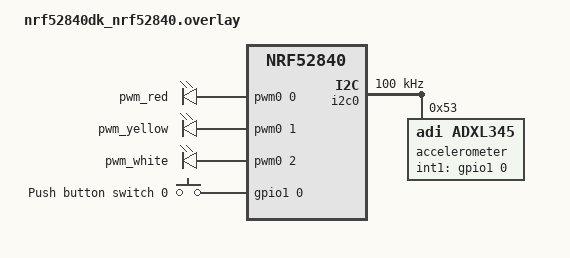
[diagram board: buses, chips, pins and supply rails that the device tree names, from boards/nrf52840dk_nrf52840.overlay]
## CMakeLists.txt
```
# SPDX-License-Identifier: Apache-2.0

cmake_minimum_required(VERSION 3.20.0)
find_package(Zephyr REQUIRED HINTS $ENV{ZEPHYR_BASE})
project(iso_receive)

target_sources(app PRIVATE
    src/main.c
    src/ble.c
    src/led.c
)
```

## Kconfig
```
# Copyright (c) 2023 Nordic Semiconductor ASA
# SPDX-License-Identifier: Apache-2.0

source "Kconfig.zephyr"

mainmenu "Bluetooth: ISO Receive"

config ISO_PRINT_INTERVAL
	int "Interval between each packet report"
	range 1 360000
	default 1
	help
	  Only print the packet report once in a given interval of ISO packets.

config ISO_ALIGN_PRINT_INTERVALS
	bool "Align report interval with incoming packets"
	help
	  Align interval-counter with packet number from incoming ISO packets.
	  This may be needed if report printouts are to be synchronized between
	  the iso_broadcast sample and the iso_receive sample.

config TTL_SHUTDOWN_TIMEOUT
	int "Shutdown timeout in seconds"
	default 600
	help
	  Define the shutdown timeout interval in seconds
```

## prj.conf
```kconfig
CONFIG_LOG=y
# CONFIG_LOG_MODE_IMMEDIATE=y

CONFIG_BT=y
CONFIG_BT_ISO_SYNC_RECEIVER=y
CONFIG_BT_DEVICE_NAME="Test ISO Receive"
CONFIG_BT_ISO_MAX_CHAN=2

# Configuration for LED PWM solution
CONFIG_GPIO=y
CONFIG_PWM=y
CONFIG_PWM_LOG_LEVEL_DBG=y

# Enable adxl345 sensor via I2C
CONFIG_I2C=y
CONFIG_SENSOR=y
CONFIG_ADXL345=y

# Configure the adxl345 sensor
CONFIG_ADXL345_TRIGGER_GLOBAL_THREAD=y

CONFIG_SENSOR_LOG_LEVEL_DBG=y
# CONFIG_I2C_LOG_LEVEL_DBG=y
# CONFIG_I2C_DUMP_MESSAGES=y
# Configuration for LED Strips solution
# CONFIG_LED_STRIP=y
# CONFIG_LED_STRIP_LOG_LEVEL_DBG=y
# CONFIG_WS2812_STRIP=y
# CONFIG_LED_STRIP_WHITE_CHANNEL=y

CONFIG_PM_DEVICE=y
CONFIG_POWEROFF=y
CONFIG_REBOOT=y

CONFIG_TTL_SHUTDOWN_TIMEOUT=30
```

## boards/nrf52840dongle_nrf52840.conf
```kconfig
# # enable logging via USB ACM
# CONFIG_USB_DEVICE_STACK=y
# CONFIG_USB_DEVICE_PRODUCT="Zephyr USB console sample"
# CONFIG_USB_DEVICE_PID=0x0004
# CONFIG_USB_DEVICE_INITIALIZE_AT_BOOT=n

# CONFIG_SERIAL=y
# CONFIG_CONSOLE=y
# CONFIG_UART_CONSOLE=y
# CONFIG_UART_LINE_CTRL=y
```

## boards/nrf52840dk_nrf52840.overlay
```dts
/*
 * Copyright (c) 2019, Nordic Semiconductor ASA
 *
 * SPDX-License-Identifier: Apache-2.0
 */

// remove existing pwm LEDs dt configuration
// remove buttons to avoid interference 
/ {
	aliases {
		/delete-property/ pwm-led0;		
		/delete-property/ sw0;
		/delete-property/ sw1;
		/delete-property/ sw2;
		/delete-property/ sw3;
		/delete-property/ mcuboot-button0;
	};
	/delete-node/ pwmleds;
	/delete-node/ buttons;
};

// create new configuration
/ {
	pwmleds {
		compatible = "pwm-leds";
		pwm_red: pwm_led0 {
			pwms = <&pwm0 0 PWM_SEC(1) PWM_POLARITY_NORMAL>;
		};
		pwm_yellow: pwm_led1 {
			pwms = <&pwm0 1 PWM_SEC(1) PWM_POLARITY_NORMAL>;
		};
		pwm_white: pwm_led2 {
			pwms = <&pwm0 2 PWM_SEC(1) PWM_POLARITY_NORMAL>;
		};
	};
};

&pwm0_default {
	// use GPIO pins which are also available on the DONGLE
	group1 {
		psels = 
			<NRF_PSEL(PWM_OUT0, 1, 10)>, 
			<NRF_PSEL(PWM_OUT1, 1, 13)>,
			<NRF_PSEL(PWM_OUT2, 1, 15)>;
		
		// remove nordic,invert property,
		// otherwise the GPIO will be high if the PWM is disconnected
		/delete-property/ nordic,invert;
	};
};

/* 
 * ADXL345 on I2C
 * We use the alternative 7-bit I2C address: 0x53
 * Furthermore, we use the following pins for I2C
 *   - SCL: P0.22
 *   - SDA: P0.25 -> we can not use P0.24 because this pin is fixed wired to the QSPI flash
*/
&i2c0 {
	status = "okay";
	clock-frequency = <I2C_BITRATE_STANDARD>;
	accelerometer: adxl345@53 {
		compatible="adi,adxl345";
		reg=<0x53>;
		odr=<6>;
		range=<16>;
		fifo=<0>;
		int1-gpios=<&gpio1 0 GPIO_ACTIVE_HIGH>;
	};
};

&i2c0_default {
	group1 {
		psels = <NRF_PSEL(TWIM_SCL, 0, 25)>,
				<NRF_PSEL(TWIM_SDA, 0, 24)>;
	};
};

/ {
		buttons {
		compatible = "gpio-keys";
		reboot_pin: reboot_pin {
			gpios = < &gpio1 0 (GPIO_PULL_DOWN | GPIO_ACTIVE_HIGH)>;
			label = "Push button switch 0";
		};
	};
};
```

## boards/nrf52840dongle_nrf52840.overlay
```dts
/*
 * Copyright (c) 2019, Nordic Semiconductor ASA
 *
 * SPDX-License-Identifier: Apache-2.0
 */

// remove existing pwm LEDs dt configuration
/ {
	aliases {
		/delete-property/ pwm-led0;
		/delete-property/ pwm-led1;
		/delete-property/ pwm-led2;
		/delete-property/ red-pwm-led;
		/delete-property/ green-pwm-led;
		/delete-property/ blue-pwm-led;
		/delete-property/ green_pwm_led;
		
		/delete-property/ sw0;
		/delete-property/ sw1;
		/delete-property/ sw2;
		/delete-property/ sw3;
		/delete-property/ mcuboot-button0;
	};
	/delete-node/ pwmleds;
	/delete-node/ buttons;
};

// create new configuration
/ {
	pwmleds {
		compatible = "pwm-leds";
		pwm_red: pwm_led0 {
			pwms = <&pwm0 0 PWM_SEC(1) PWM_POLARITY_NORMAL>;
		};
		pwm_yellow: pwm_led1 {
			pwms = <&pwm0 1 PWM_SEC(1) PWM_POLARITY_NORMAL>;
		};
		pwm_white: pwm_led2 {
			pwms = <&pwm0 2 PWM_SEC(1) PWM_POLARITY_NORMAL>;
		};
	};
};	

&pwm0_default {
	// use GPIO pins which are also available on the DONGLE
	group1 {
		psels = 
			<NRF_PSEL(PWM_OUT0, 1, 10)>, 
			<NRF_PSEL(PWM_OUT1, 1, 13)>,
			<NRF_PSEL(PWM_OUT2, 1, 15)>;
		
		// remove nordic,invert property,
		// otherwise the GPIO will be high if the PWM is disconnected
		/delete-property/ nordic,invert;
	};
};


/* 
 * ADXL345 on I2C
 * We use the alternative 7-bit I2C address: 0x53
 * Furthermore, we use the following pins for I2C
 *   - SCL: P0.22
 *   - SDA: P0.24
*/
&i2c0 {
	status = "okay";
	clock-frequency = <I2C_BITRATE_STANDARD>;
	accelerometer: adxl345@53 {
		compatible="adi,adxl345";
		reg=<0x53>;
		odr=<6>;
		range=<16>;
		fifo=<0>;
		int1-gpios=<&gpio0 13 GPIO_ACTIVE_HIGH>;
	};
};

&i2c0_default {
	group1 {
		psels = <NRF_PSEL(TWIM_SCL, 0, 22)>,
				<NRF_PSEL(TWIM_SDA, 0, 24)>;
	};
};

/ {
		buttons {
		compatible = "gpio-keys";
		reboot_pin: reboot_pin {
			gpios = < &gpio0 13 (GPIO_PULL_DOWN | GPIO_ACTIVE_HIGH)>;
			label = "Push button switch 0";
		};
	};
};
```

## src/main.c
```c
#include <zephyr/drivers/gpio.h>
#include <zephyr/drivers/sensor.h>
#include <zephyr/kernel.h>
#include <zephyr/logging/log.h>
#include <zephyr/sys/poweroff.h>
#include <zephyr/sys/reboot.h>

#include "accel.h"
#include "ble.h"
#include "led.h"
#include "ttl.h"

LOG_MODULE_REGISTER(ttl_main, LOG_LEVEL_INF);

/**
 * @brief Reset pin, used by the accelerometer to wakeup the boot
 */
static const struct gpio_dt_spec reboot_pin =
    GPIO_DT_SPEC_GET(DT_NODELABEL(reboot_pin), gpios);

/**
 * @brief Overwrite ASSERT handler
 * @param reason - The reason for the fatal error
 * @param esf    - Exception context, with details and partial or full register
 *                 state when the error occurred. May in some cases be NULL.
 */
void k_sys_fatal_error_handler(unsigned int reason, const z_arch_esf_t *esf) {
  ARG_UNUSED(esf);
  LOG_ERR("Assert received, reboot system");
  sys_reboot(SYS_REBOOT_COLD);
  CODE_UNREACHABLE; /* LCOV_EXCL_LINE */
}

/**
 * @brief Power down TTL to save energy.
 * This function activates the acceleration monitoring and wakeups the MCU once
 * a movement is recognized.
 */
static int ttl_power_down() {
  int err = ttl_accel_init();
  if (TTL_OK != err) {
    LOG_ERR("Failed to initialize the TTLight ACCEL stack\n");
    return TTL_ERR;
  }
  int rc = gpio_pin_configure_dt(&reboot_pin, GPIO_INPUT);
  if (rc < 0) {
    LOG_ERR("Could not configure sw0 GPIO (%d)\n", rc);
    return TTL_ERR;
  }

  rc = gpio_pin_interrupt_configure_dt(&reboot_pin, GPIO_INT_LEVEL_ACTIVE);
  if (rc < 0) {
    LOG_ERR("Could not configure sw0 GPIO interrupt (%d)\n", rc);
    return TTL_ERR;
  }

  // perform some power down if no ble was found for a given time
  sys_poweroff();

  return TTL_OK;
}

/**
 * @brief Main function of the TTL receiver
 */
int main(void) {
  int err = 0;
  int64_t last_packet_time;
  int64_t elapsed_time;

  LOG_INF("Starting TTLight Controller\n");

  err = ttl_ble_init();
  if (TTL_OK != err) {
    LOG_ERR("Failed to initialize the TTLight BLE stack\n");
    return TTL_ERR;
  }

  err = ttl_led_init();
  if (TTL_OK != err) {
    LOG_ERR("Failed to initialize the TTLight GPIO stack\n");
    goto exit;
  }
  ttl_ble_register_cb(ttl_led_upd_status);

exit:
  while (1) {
    last_packet_time = ttl_ble_latest_packet_date();
    elapsed_time = k_uptime_delta(&last_packet_time);
    LOG_INF("Elapsed time: %lld", elapsed_time);
    k_msleep(10000);
    if (elapsed_time >= (CONFIG_TTL_SHUTDOWN_TIMEOUT * 1000)) {
      err = ttl_power_down();
      if (TTL_OK != err) {
        LOG_ERR("Failed to shutdown, let's force a restart of the board");
        sys_reboot(SYS_REBOOT_COLD);
      }
    }
  }
  return 0;
}
```

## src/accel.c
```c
#include "accel.h"
#include "ttl.h"
#include <zephyr/device.h>
#include <zephyr/logging/log.h>

LOG_MODULE_REGISTER(ttl_accel, LOG_LEVEL_INF);

const struct device *const adx345 = DEVICE_DT_GET(DT_NODELABEL(accelerometer));

static void ttl_accel_active(const struct device *dev,
                             const struct sensor_trigger *trigger) {
  LOG_INF("ACCEL ACTIVE");
}

int ttl_accel_init() {
  int rc;
  if (!device_is_ready(adx345)) {
    LOG_ERR("%s: device not ready.\n", adx345->name);
    return TTL_ERR;
  }

  // register active interrupt
  const struct sensor_value active_mg = {.val1 = 29, .val2 = 419950};
  rc = sensor_attr_set(adx345, SENSOR_CHAN_ACCEL_XYZ, SENSOR_ATTR_ACTIVE_THRESH,
                       &active_mg);
  if (0 != rc) {
    LOG_ERR("Failed to set accel active threshold value");
    return TTL_ERR;
  }

  struct sensor_trigger active_trigger;
  active_trigger.type = SENSOR_TRIG_MOTION;
  rc = sensor_trigger_set(adx345, &active_trigger, ttl_accel_active);
  if (0 != rc) {
    LOG_ERR("Failed to activate accel active trigger");
    return TTL_ERR;
  }

  return TTL_OK;
}

int ttl_accel_read(struct sensor_value *val) {
  struct sensor_value accel[3];
  int ret = sensor_sample_fetch(adx345);
  if (ret < 0) {
    LOG_ERR("Failed to fetch accel sensor data\n");
    return TTL_ERR;
  }

  if (!ret) {
    LOG_WRN("No data to sample\n");
    return TTL_OK;
  }

  ret = sensor_channel_get(adx345, SENSOR_CHAN_ACCEL_XYZ, &accel[0]);
  if (ret < 0) {
    LOG_ERR("Failed to read accel sensor data\n");
    return TTL_ERR;
  }

  LOG_INF("AccelData[x: %f, y:%f, z:%f]", sensor_value_to_double(&accel[0]),
          sensor_value_to_double(&accel[1]), sensor_value_to_double(&accel[2]));

  return TTL_OK;
}
```

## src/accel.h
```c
#ifndef ACCEL_H
#define ACCEL_H

#include <zephyr/drivers/sensor/adxl345.h>

/**
 * @brief Enable the TTLight accel stack
 * @return TTL_OK on success, else some error code
 */
int ttl_accel_init();

/**
 * @brief Read a new sensor value from the accel
 * @param[out] val - read sensor value
 * @return TTL_OK on success, else some error code
 */
int ttl_accel_read(struct sensor_value *val);

#endif
```

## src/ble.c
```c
/*
 * Copyright (c) 2021 Nordic Semiconductor ASA
 *
 * SPDX-License-Identifier: Apache-2.0
 */

#include <sys/types.h>
#include <zephyr/bluetooth/bluetooth.h>
#include <zephyr/bluetooth/conn.h>
#include <zephyr/bluetooth/iso.h>
#include <zephyr/device.h>
#include <zephyr/devicetree.h>
#include <zephyr/logging/log.h>
#include <zephyr/sys/byteorder.h>

#include "ttl.h"
#include "zephyr/kernel.h"

LOG_MODULE_REGISTER(ttl_ble, LOG_LEVEL_INF);

// ttl ble thread objects
#define TTL_BLE_STACK_SIZE (2048)
static K_KERNEL_STACK_DEFINE(ttl_ble_thread_stack, TTL_BLE_STACK_SIZE);
static struct k_thread ttl_ble_thread_data;

uint8_t running;
static ttl_upd_state_cb_t ttl_upd_state_cb;
static int64_t ttl_iso_last_data;
static bool ttl_iso_connected;

#define TIMEOUT_SYNC_CREATE K_SECONDS(10)
#define NAME_LEN 30

#define BT_LE_SCAN_CUSTOM                                                      \
  BT_LE_SCAN_PARAM(BT_LE_SCAN_TYPE_ACTIVE, BT_LE_SCAN_OPT_NONE,                \
                   BT_GAP_SCAN_FAST_INTERVAL, BT_GAP_SCAN_FAST_WINDOW)

#define PA_RETRY_COUNT 6

static bool per_adv_found;
static bool per_adv_lost;
static bt_addr_le_t per_addr;
static uint8_t per_sid;
static uint32_t per_interval_us;

static uint32_t iso_recv_count;

static K_SEM_DEFINE(sem_per_adv, 0, 1);
static K_SEM_DEFINE(sem_per_sync, 0, 1);
static K_SEM_DEFINE(sem_per_sync_lost, 0, 1);
static K_SEM_DEFINE(sem_per_big_info, 0, 1);
static K_SEM_DEFINE(sem_big_sync, 0, 1);
static K_SEM_DEFINE(sem_big_sync_lost, 0, 1);

static bool data_cb(struct bt_data *data, void *user_data) {
  char *name = user_data;
  uint8_t len;

  switch (data->type) {
  case BT_DATA_NAME_SHORTENED:
  case BT_DATA_NAME_COMPLETE:
    len = MIN(data->data_len, NAME_LEN - 1);
    memcpy(name, data->data, len);
    name[len] = '\0';
    return false;
  default:
    return true;
  }
}

static const char *phy2str(uint8_t phy) {
  switch (phy) {
  case 0:
    return "No packets";
  case BT_GAP_LE_PHY_1M:
    return "LE 1M";
  case BT_GAP_LE_PHY_2M:
    return "LE 2M";
  case BT_GAP_LE_PHY_CODED:
    return "LE Coded";
  default:
    return "Unknown";
  }
}

static void scan_recv(const struct bt_le_scan_recv_info *info,
                      struct net_buf_simple *buf) {
  char le_addr[BT_ADDR_LE_STR_LEN];
  char name[NAME_LEN];

  (void)memset(name, 0, sizeof(name));

  bt_data_parse(buf, data_cb, name);

  bt_addr_le_to_str(info->addr, le_addr, sizeof(le_addr));
  LOG_DBG("[DEVICE]: %s, AD evt type %u, Tx Pwr: %i, RSSI %i %s "
          "C:%u S:%u D:%u SR:%u E:%u Prim: %s, Secn: %s, "
          "Interval: 0x%04x (%u us), SID: %u\n",
          le_addr, info->adv_type, info->tx_power, info->rssi, name,
          (info->adv_props & BT_GAP_ADV_PROP_CONNECTABLE) != 0,
          (info->adv_props & BT_GAP_ADV_PROP_SCANNABLE) != 0,
          (info->adv_props & BT_GAP_ADV_PROP_DIRECTED) != 0,
          (info->adv_props & BT_GAP_ADV_PROP_SCAN_RESPONSE) != 0,
          (info->adv_props & BT_GAP_ADV_PROP_EXT_ADV) != 0,
          phy2str(info->primary_phy), phy2str(info->secondary_phy),
          info->interval, BT_CONN_INTERVAL_TO_US(info->interval), info->sid);

  if (!per_adv_found && info->interval) {
    per_adv_found = true;

    per_sid = info->sid;
    per_interval_us = BT_CONN_INTERVAL_TO_US(info->interval);
    bt_addr_le_copy(&per_addr, info->addr);

    k_sem_give(&sem_per_adv);
  }
}

static struct bt_le_scan_cb scan_callbacks = {
    .recv = scan_recv,
};

static void sync_cb(struct bt_le_per_adv_sync *sync,
                    struct bt_le_per_adv_sync_synced_info *info) {
  char le_addr[BT_ADDR_LE_STR_LEN];

  bt_addr_le_to_str(info->addr, le_addr, sizeof(le_addr));

  LOG_INF("PER_ADV_SYNC[%u]: [DEVICE]: %s synced, "
          "Interval 0x%04x (%u ms), PHY %s\n",
          bt_le_per_adv_sync_get_index(sync), le_addr, info->interval,
          info->interval * 5 / 4, phy2str(info->phy));

  k_sem_give(&sem_per_sync);
}

static void term_cb(struct bt_le_per_adv_sync *sync,
                    const struct bt_le_per_adv_sync_term_info *info) {
  char le_addr[BT_ADDR_LE_STR_LEN];

  bt_addr_le_to_str(info->addr, le_addr, sizeof(le_addr));

  LOG_INF("PER_ADV_SYNC[%u]: [DEVICE]: %s sync terminated\n",
          bt_le_per_adv_sync_get_index(sync), le_addr);

  per_adv_lost = true;
  k_sem_give(&sem_per_sync_lost);
}

static void recv_cb(struct bt_le_per_adv_sync *sync,
                    const struct bt_le_per_adv_sync_recv_info *info,
                    struct net_buf_simple *buf) {
  char le_addr[BT_ADDR_LE_STR_LEN];
  char data_str[129];

  bt_addr_le_to_str(info->addr, le_addr, sizeof(le_addr));
  bin2hex(buf->data, buf->len, data_str, sizeof(data_str));

  LOG_INF("PER_ADV_SYNC[%u]: [DEVICE]: %s, tx_power %i, "
          "RSSI %i, CTE %u, data length %u, data: %s\n",
          bt_le_per_adv_sync_get_index(sync), le_addr, info->tx_power,
          info->rssi, info->cte_type, buf->len, data_str);
}

static void biginfo_cb(struct bt_le_per_adv_sync *sync,
                       const struct bt_iso_biginfo *biginfo) {
  char le_addr[BT_ADDR_LE_STR_LEN];

  bt_addr_le_to_str(biginfo->addr, le_addr, sizeof(le_addr));

  LOG_DBG("BIG INFO[%u]: [DEVICE]: %s, sid 0x%02x, "
          "num_bis %u, nse %u, interval 0x%04x (%u ms), "
          "bn %u, pto %u, irc %u, max_pdu %u, "
          "sdu_interval %u us, max_sdu %u, phy %s, "
          "%s framing, %sencrypted\n",
          bt_le_per_adv_sync_get_index(sync), le_addr, biginfo->sid,
          biginfo->num_bis, biginfo->sub_evt_count, biginfo->iso_interval,
          (biginfo->iso_interval * 5 / 4), biginfo->burst_number,
          biginfo->offset, biginfo->rep_count, biginfo->max_pdu,
          biginfo->sdu_interval, biginfo->max_sdu, phy2str(biginfo->phy),
          biginfo->framing ? "with" : "without",
          biginfo->encryption ? "" : "not ");

  k_sem_give(&sem_per_big_info);
}

static struct bt_le_per_adv_sync_cb sync_callbacks = {
    .synced = sync_cb,
    .term = term_cb,
    .recv = recv_cb,
    .biginfo = biginfo_cb,
};

static void iso_recv(struct bt_iso_chan *chan,
                     const struct bt_iso_recv_info *info, struct net_buf *buf) {
  ttl_state_t state; /* only valid if the data is a counter */

  if (buf->len == sizeof(state)) {
    state.entire = sys_get_le32(buf->data);
    LOG_DBG("Incoming data channel %p flags 0x%x seq_num %u ts %u len %u", chan,
            info->flags, info->seq_num, info->ts, buf->len);

    if (ttl_upd_state_cb) {
      (*ttl_upd_state_cb)(state);
      ttl_iso_last_data = k_uptime_get();
    }
  }
  iso_recv_count++;
}

static void iso_connected(struct bt_iso_chan *chan) {
  LOG_INF("ISO Channel %p connected\n", chan);
  ttl_iso_connected = true;
  k_sem_give(&sem_big_sync);
}

static void iso_disconnected(struct bt_iso_chan *chan, uint8_t reason) {
  LOG_INF("ISO Channel %p disconnected with reason 0x%02x\n", chan, reason);
  if (reason != BT_HCI_ERR_OP_CANCELLED_BY_HOST) {
    ttl_iso_connected = false;
    k_sem_give(&sem_big_sync_lost);
  }
}

static struct bt_iso_chan_ops iso_ops = {
    .recv = iso_recv,
    .connected = iso_connected,
    .disconnected = iso_disconnected,
};

static struct bt_iso_chan_io_qos iso_rx_qos;

static struct bt_iso_chan_qos bis_iso_qos = {
    .rx = &iso_rx_qos,
};

static struct bt_iso_chan bis_iso_chan = {
    .ops = &iso_ops,
    .qos = &bis_iso_qos,
};

static struct bt_iso_chan *bis[] = {&bis_iso_chan};

static struct bt_iso_big_sync_param big_sync_param = {
    .bis_channels = bis,
    .num_bis = 1,
    .bis_bitfield = (BIT_MASK(1) << 1),
    .mse = 1,
    .sync_timeout = 100, /* in 10 ms units */
};

void ttl_ble_thread_main() {
  struct bt_le_per_adv_sync_param sync_create_param;
  struct bt_le_per_adv_sync *sync;
  struct bt_iso_big *big;
  uint32_t sem_timeout_us;
  int err;

  iso_recv_count = 0;

  LOG_INF("Starting Synchronized Receiver Demo\n");

  /* Initialize the Bluetooth Subsystem */
  err = bt_enable(NULL);
  if (err) {
    LOG_INF("Bluetooth init failed (err %d)\n", err);
    return;
  }

  LOG_INF("Scan callbacks register...");
  bt_le_scan_cb_register(&scan_callbacks);
  LOG_INF("success.\n");

  LOG_INF("Periodic Advertising callbacks register...");
  bt_le_per_adv_sync_cb_register(&sync_callbacks);
  LOG_INF("Success.\n");

  do {
    per_adv_lost = false;

    LOG_INF("Start scanning...");
    err = bt_le_scan_start(BT_LE_SCAN_CUSTOM, NULL);
    if (err) {
      LOG_INF("failed (err %d)\n", err);
      return;
    }
    LOG_INF("success.\n");

    LOG_INF("Waiting for periodic advertising...\n");
    per_adv_found = false;
    err = k_sem_take(&sem_per_adv, K_FOREVER);
    if (err) {
      LOG_INF("failed (err %d)\n", err);
      return;
    }
    LOG_INF("Found periodic advertising.\n");

    LOG_INF("Stop scanning...");
    err = bt_le_scan_stop();
    if (err) {
      LOG_INF("failed (err %d)\n", err);
      return;
    }
    LOG_INF("success.\n");

    LOG_INF("Creating Periodic Advertising Sync...");
    bt_addr_le_copy(&sync_create_param.addr, &per_addr);
    sync_create_param.options = 0;
    sync_create_param.sid = per_sid;
    sync_create_param.skip = 0;
    /* Multiple PA interval with retry count and convert to unit of 10 ms */
    sync_create_param.timeout =
        (per_interval_us * PA_RETRY_COUNT) / (10 * USEC_PER_MSEC);
    sem_timeout_us = per_interval_us * PA_RETRY_COUNT;
    err = bt_le_per_adv_sync_create(&sync_create_param, &sync);
    if (err) {
      LOG_INF("failed (err %d)\n", err);
      return;
    }
    LOG_INF("success.\n");

    LOG_INF("Waiting for periodic sync...\n");
    err = k_sem_take(&sem_per_sync, K_USEC(sem_timeout_us));
    if (err) {
      LOG_INF("failed (err %d)\n", err);

      LOG_INF("Deleting Periodic Advertising Sync...");
      err = bt_le_per_adv_sync_delete(sync);
      if (err) {
        LOG_INF("failed (err %d)\n", err);
        return;
      }
      continue;
    }
    LOG_INF("Periodic sync established.\n");

    LOG_INF("Waiting for BIG info...\n");
    err = k_sem_take(&sem_per_big_info, K_USEC(sem_timeout_us));
    if (err) {
      LOG_INF("failed (err %d)\n", err);

      if (per_adv_lost) {
        continue;
      }

      LOG_INF("Deleting Periodic Advertising Sync...");
      err = bt_le_per_adv_sync_delete(sync);
      if (err) {
        LOG_INF("failed (err %d)\n", err);
        return;
      }
      continue;
    }
    LOG_INF("Periodic sync established.\n");

  big_sync_create:
    LOG_INF("Create BIG Sync...\n");
    err = bt_iso_big_sync(sync, &big_sync_param, &big);
    if (err) {
      LOG_INF("failed (err %d)\n", err);
      return;
    }
    LOG_INF("success.\n");

    LOG_INF("Waiting for BIG sync chan...\n");
    err = k_sem_take(&sem_big_sync, TIMEOUT_SYNC_CREATE);
    if (err) {
      break;
    }
    LOG_INF("BIG sync chan successful.\n");
    if (err) {
      LOG_INF("failed (err %d)\n", err);

      LOG_INF("BIG Sync Terminate...");
      err = bt_iso_big_terminate(big);
      if (err) {
        LOG_INF("failed (err %d)\n", err);
        return;
      }
      LOG_INF("done.\n");

      goto per_sync_lost_check;
    }
    LOG_INF("BIG sync established.\n");

    LOG_INF("Waiting for BIG sync lost chan...\n");
    err = k_sem_take(&sem_big_sync_lost, K_FOREVER);
    if (err) {
      LOG_INF("failed (err %d)\n", err);
      return;
    }
    LOG_INF("BIG sync lost chan.\n");

    LOG_INF("BIG sync lost.\n");

  per_sync_lost_check:
    LOG_INF("Check for periodic sync lost...\n");
    err = k_sem_take(&sem_per_sync_lost, K_NO_WAIT);
    if (err) {
      /* Periodic Sync active, go back to creating BIG Sync */
      goto big_sync_create;
    }
    LOG_INF("Periodic sync lost.\n");
  } while (running);

  return;
}

int ttl_ble_init() {
  running = 1;
  ttl_upd_state_cb = NULL;
  ttl_iso_connected = false;
  ttl_iso_last_data = k_uptime_get();

  /* Start a thread to offload disk ops */
  k_thread_create(&ttl_ble_thread_data, ttl_ble_thread_stack,
                  TTL_BLE_STACK_SIZE, (k_thread_entry_t)ttl_ble_thread_main,
                  NULL, NULL, NULL, -5, 0, K_NO_WAIT);
  k_thread_name_set(&ttl_ble_thread_data, "ttl_ble_worker");

  return TTL_OK;
}

void ttl_ble_register_cb(ttl_upd_state_cb_t cb) {
  if (cb) {
    ttl_upd_state_cb = cb;
  }
}

bool ttl_ble_is_connected() { return ttl_iso_connected; }
int64_t ttl_ble_latest_packet_date() { return ttl_iso_last_data; }
```

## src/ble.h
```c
#ifndef BLE_H
#define BLE_H

#include "ttl.h"
#include <stdbool.h>
#include <sys/types.h>

/**
 * @brief Enable the TTLight BLE stack
 * This will enable the entire BLE with ISO stack
 * and initialize a new BIS and starts sending the current
 * ttl state to the receivers
 * @return TTL_OK on success, else some error code
 */
int ttl_ble_init();

/**
 * @brief Register new callback function, triggered per received data package
 * @param[in] cb - callback to register
 */
void ttl_ble_register_cb(ttl_upd_state_cb_t cb);

/**
 * @brief Query if the ble stack is currently connected to some iso channel
 * @return true if connected else false
 */
bool ttl_ble_is_connected();

/**
 * @brief Query the latest received ble iso packet date.
 * Please consider that this date will be the thread start time if no iso
 * connection was made yet.
 * @return time_t of last packet
 */
int64_t ttl_ble_latest_packet_date();

#endif
```

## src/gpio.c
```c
#include <zephyr/kernel.h>
#include <zephyr/device.h>
#include <zephyr/logging/log.h>
#include <zephyr/drivers/spi.h>
#include <zephyr/drivers/led_strip.h>
#include <zephyr/sys/util.h>
#include <zephyr/drivers/gpio.h>

#include "gpio.h"

#define DT_DRV_COMPAT nrf52840dk

LOG_MODULE_REGISTER(ttl_gpio, LOG_LEVEL_INF);

// ttl gpio thread objects
#define TTL_GPIO_STACK_SIZE (2048)
static K_KERNEL_STACK_DEFINE(ttl_gpio_thread_stack, TTL_GPIO_STACK_SIZE);
static struct k_thread ttl_gpio_thread_data;

static ttl_light_orientiation_t orientation;
static uint8_t running;
static uint8_t ttl_state_changed;
static ttl_state_t ttl_state;

static K_SEM_DEFINE(sem_ttl_state, 1, 1);

#define STRIP_NUM_PIXELS DT_PROP(DT_ALIAS(led_strip), chain_length)
static const struct device *strip = DEVICE_DT_GET(DT_ALIAS(led_strip));

#define TTF_LEDS_DT DT_NODELABEL(signal_leds)
#define TTF_BREAK_LED_DT DT_CHILD(TTF_LEDS_DT, break_led)
static const struct gpio_dt_spec gpio_break = GPIO_DT_SPEC_GET_BY_IDX(TTF_BREAK_LED_DT, gpios, 0);

// define led strip
#define RGBW(_r, _g, _b, _w)                       \
    {                                              \
        .r = (_r), .g = (_g), .b = (_b), .w = (_w) \
    }

static const struct led_rgb color_modes[] = {
    RGBW(0x00, 0x00, 0x00, 0xff), /* reverse */
    RGBW(0xff, 0x00, 0x00, 0x00), /* break */
    RGBW(0xff, 0xff, 0x00, 0x00), /* turn */
    RGBW(0x40, 0x00, 0x00, 0x00)  /* drive */
};
struct led_rgb pixels[STRIP_NUM_PIXELS];

static int ttl_gpio_enable()
{
    if (!device_is_ready(strip))
    {
        LOG_ERR("LED strip device %s is not ready", strip->name);
        return TTL_ERR;
    }
    LOG_INF("Found LED strip device %s", strip->name);
    memset(pixels, 0, sizeof(struct led_rgb) * STRIP_NUM_PIXELS);

    if (!gpio_is_ready_dt(&gpio_break))
    {
        LOG_ERR("BREAK device is not ready");
        return TTL_ERR;
    }
    if (gpio_pin_configure_dt(&gpio_break, GPIO_OUTPUT_ACTIVE) < 0)
    {
        LOG_ERR("BREAK device is not ready");
        return TTL_ERR;
    }
    gpio_pin_set(gpio_break.port, gpio_break.pin, 0);

    return TTL_OK;
}

static uint8_t ttl_gpio_map_aio_state()
{
    uint8_t state = TTL_LIGHT_DRIVE;
    if (ttl_state.parts.bits.breaks)
    {
        state = TTL_LIGHT_BREAK;
    }
    else if (orientation == ORI_LEFT && ttl_state.parts.bits.lturn)
    {
        state = TTL_LIGHT_TURN;
    }
    else if (orientation == ORI_RIGHT && ttl_state.parts.bits.rturn)
    {
        state = TTL_LIGHT_TURN;
    }
    else if (ttl_state.parts.bits.reverse)
    {
        state = TTL_LIGHT_REVERSE;
    }
    else
    {
        state = TTL_LIGHT_DRIVE;
    }

    return state;
}

static int ttl_gpio_set()
{
    ttl_state_t state;
    uint8_t state_changed;
    while (running)
    {
        k_sem_take(&sem_ttl_state, K_FOREVER);
        state_changed = ttl_state_changed;
        // TODO: add logic to differentiate if this is a right or left light
        state = ttl_state;
        k_sem_give(&sem_ttl_state);

        if (state_changed)
        {
            LOG_INF("Received trailer light state update to:");
            PRINT_TTL_STATE(state);
            ttl_state_changed = 0;

            // TODO: update all connected light components
            // for AIO light
            uint8_t aio_light_state = ttl_gpio_map_aio_state(state);

            for (uint8_t idx = 0; idx < ARRAY_SIZE(pixels); idx++)
            {
                memcpy(&pixels[idx], &color_modes[aio_light_state], sizeof(struct led_rgb));
            }

            LOG_ERR("Update LED srip\n");
            int ret = led_strip_update_rgb(strip, pixels, STRIP_NUM_PIXELS);
            if (ret)
            {
                LOG_ERR("Failed to update led strip");
            }

            // for BREAK light
            if (aio_light_state == TTL_LIGHT_BREAK)
            {
                LOG_INF("Set BREAK gpio to high");
                gpio_pin_set(gpio_break.port, gpio_break.pin, 1);
            }
            else
            {
                LOG_INF("Set BREAK gpio to low");
                gpio_pin_set(gpio_break.port, gpio_break.pin, 0);
            }
        }

        k_msleep(TTL_POLLING_INTERVAL_MS);
    }

    return TTL_OK;
}

static void ttl_gpio_thread_main()
{
    int ret = 0;
    LOG_INF("TTLight starts to initiate the GPIO Stack");
    ret = ttl_gpio_enable();
    if (TTL_OK != ret)
    {
        LOG_ERR("Failed to initiate the TTLight GPIO stack");
        return;
    }
    LOG_INF("TTLight started the GPIO Stack successfully");

    LOG_INF("TTLight starts to set current GPIO state");
    ret = ttl_gpio_set();
    if (TTL_OK != ret)
    {
        LOG_ERR("Failed to set the current TTLight GPIO state");
        return;
    }
    LOG_INF("TTLight finished to set current GPIO state");

    return;
}

int ttl_gpio_init()
{
    running = 1;
    orientation = ORI_LEFT;
    // TODO: Set to running
    ttl_state.entire = 0;
    ttl_state_changed = 0;
    /* Start a thread to offload disk ops */
    k_thread_create(&ttl_gpio_thread_data, ttl_gpio_thread_stack,
                    TTL_GPIO_STACK_SIZE,
                    (k_thread_entry_t)ttl_gpio_thread_main, NULL, NULL, NULL,
                    -5, 0, K_NO_WAIT);
    k_thread_name_set(&ttl_gpio_thread_data, "ttl_ble_worker");

    return TTL_OK;
}

int inline ttl_gpio_upd_status(ttl_state_t state)
{
    if (state.entire != ttl_state.entire)
    {
        k_sem_take(&sem_ttl_state, K_FOREVER);
        ttl_state_changed = 1;
        ttl_state = state;
        k_sem_give(&sem_ttl_state);
    }

    return TTL_OK;
}
```

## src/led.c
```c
#include <zephyr/device.h>
#include <zephyr/kernel.h>
#include <zephyr/logging/log.h>
#include <zephyr/sys/util.h>

#include <haly/nrfy_pwm.h>
#include <nrfx.h>
#include <nrfx_pwm.h>
#include <zephyr/drivers/pwm.h>

#include "led.h"

#define DT_DRV_COMPAT nrf52840dk

LOG_MODULE_REGISTER(ttl_led, LOG_LEVEL_INF);

// ttl gpio thread objects
#define TTL_LED_STACK_SIZE (2048)
static K_KERNEL_STACK_DEFINE(ttl_led_thread_stack, TTL_LED_STACK_SIZE);
static struct k_thread ttl_led_thread_data;

static uint8_t running;
static uint8_t ttl_state_changed;
static ttl_state_t ttl_state;

static K_SEM_DEFINE(sem_ttl_state, 1, 1);

// PWM LEDs devices
struct ttl_pwm_led_t {
  const struct pwm_dt_spec pwm;
  const uint32_t pwm_periode;
  const uint32_t pwm_duty;
};

enum ttl_pwm_led_idx {
  TTL_PWM_IDX_BREAK = 0,
  TTL_PWM_IDX_DIRPOINTER,
  TTL_PWM_IDX_REVERSE,
  TTL_PWM_IDX_DRIVE,
};

static struct ttl_pwm_led_t ttl_pwm_leds[] = {
    {.pwm = PWM_DT_SPEC_GET(DT_NODELABEL(pwm_red)),
     .pwm_periode = TTL_PWM_LED_PERIODE,
     .pwm_duty = TTL_PWM_LED_DUTY(100)},
    {.pwm = PWM_DT_SPEC_GET(DT_NODELABEL(pwm_yellow)),
     .pwm_periode = TTL_PWM_LED_PERIODE,
     .pwm_duty = TTL_PWM_LED_DUTY(100)},
    {.pwm = PWM_DT_SPEC_GET(DT_NODELABEL(pwm_white)),
     .pwm_periode = TTL_PWM_LED_PERIODE,
     .pwm_duty = TTL_PWM_LED_DUTY(90)},
    {.pwm = PWM_DT_SPEC_GET(DT_NODELABEL(pwm_red)),
     .pwm_periode = TTL_PWM_LED_PERIODE,
     .pwm_duty = TTL_PWM_LED_DUTY(30)},
};

/*
 * @brief Very nasty functions to connect and disconnect the PWM channels, as
 * explained in the NRF documentation:
 * https://infocenter.nordicsemi.com/topic/ps_nrf52840/pwm.html?cp=5_0_0_5_16_4_22#register.PSEL.OUT-0-3
 * This allows us to disable and enable the PWM signal on the GPIO port without
 * the need to reconfigure the entire PWM instance. However, these hacky
 * functions only work if the first member of the dev->config struct is the
 * nrfx_pwm_t instance. The device config struct is private in the C file, hence
 * we are unable to access its definition. But because the first required
 * information is a the beginning of the config struct we simply access the
 * nrfx_pwm_t directly, because they own the same address in memory.
 */
static void inline ttl_led_connect(struct ttl_pwm_led_t *led) {
  int ret = pwm_set_dt(&led->pwm, led->pwm_periode, led->pwm_duty);
  if (ret) {
    LOG_ERR("Error %d: failed to set pulse width\n", ret);
    return;
  }

  const struct pwm_dt_spec *pwm = &led->pwm;
  nrfx_pwm_t *nrfx_pwm = (nrfx_pwm_t *)pwm->dev->config;
  nrfx_pwm->p_reg->PSEL.OUT[pwm->channel] &= ~(0x1 << PWM_PSEL_OUT_CONNECT_Pos);
}

static void inline ttl_led_disconnect(struct ttl_pwm_led_t *led) {
  const struct pwm_dt_spec *pwm = &led->pwm;
  nrfx_pwm_t *nrfx_pwm = (nrfx_pwm_t *)pwm->dev->config;
  nrfx_pwm->p_reg->PSEL.OUT[pwm->channel] |= (0x1 << PWM_PSEL_OUT_CONNECT_Pos);
}

static int ttl_led_enable() {
  int ret = TTL_OK;
  for (uint8_t idx = 0; idx < ARRAY_SIZE(ttl_pwm_leds); idx++) {
    ret = device_is_ready(ttl_pwm_leds[idx].pwm.dev);
    if (false == ret) {
      LOG_ERR("PWM LED device is not ready with name: %s and channel: %d",
              ttl_pwm_leds[idx].pwm.dev->name, ttl_pwm_leds[idx].pwm.channel);
      return TTL_ERR;
    }
    LOG_INF("PWM LED device is ready device with name:  %s and channel: %d",
            ttl_pwm_leds[idx].pwm.dev->name, ttl_pwm_leds[idx].pwm.channel);

    ret = pwm_set_dt(&ttl_pwm_leds[idx].pwm, ttl_pwm_leds[idx].pwm_periode,
                     ttl_pwm_leds[idx].pwm_duty);
    if (ret) {
      LOG_ERR("Error %d: failed to set pulse width\n", ret);
      return TTL_ERR;
    }
  }

  // init state
  ttl_state_changed = 1;
  ttl_state.entire = 0;
  ttl_state.parts.bits.rdrive = 1;
  ttl_state.parts.bits.ldrive = 1;

  return TTL_OK;
}

static void ttl_led_disconnect_all() {
  for (uint8_t idx = 0; idx < ARRAY_SIZE(ttl_pwm_leds); idx++) {
    ttl_led_disconnect(&ttl_pwm_leds[idx]);
  }
}

static int ttl_led_set() {
  ttl_state_t state;
  uint8_t state_changed;
  while (running) {
    k_sem_take(&sem_ttl_state, K_FOREVER);
    state_changed = ttl_state_changed;
    // TODO: add logic to differentiate if this is a right or left light
    state = ttl_state;
    k_sem_give(&sem_ttl_state);

    if (state_changed) {
      LOG_INF("Received trailer light state update to:");
      PRINT_TTL_STATE(state);
      ttl_state_changed = 0;

      // disconnect all LEDs
      ttl_led_disconnect_all();

      if (state.parts.bits.rturn) {
        LOG_INF("Enable DIRECTION LIGHT");
        ttl_led_connect(&ttl_pwm_leds[TTL_PWM_IDX_DIRPOINTER]);
      }
      // TODO: change to a if
      else if (state.parts.bits.breaks) {
        LOG_INF("Enable BREAK LIGHT");
        ttl_led_connect(&ttl_pwm_leds[TTL_PWM_IDX_BREAK]);
      } else if (state.parts.bits.reverse) {
        LOG_INF("Enable REVERSE LIGHT");
        ttl_led_connect(&ttl_pwm_leds[TTL_PWM_IDX_REVERSE]);
      } else if (state.parts.bits.ldrive) {
        LOG_INF("Enable DRIVE LIGHT");
        ttl_led_connect(&ttl_pwm_leds[TTL_PWM_IDX_DRIVE]);
      } else {
        LOG_INF("Nothing to enable???");
      }
    }

    k_msleep(TTL_POLLING_INTERVAL_MS);
  }

  return TTL_OK;
}

static void ttl_led_thread_main() {
  int ret = 0;
  LOG_INF("TTLight starts to initiate the GPIO Stack");
  ret = ttl_led_enable();
  if (TTL_OK != ret) {
    LOG_ERR("Failed to initiate the TTLight GPIO stack");
    return;
  }
  LOG_INF("TTLight started the GPIO Stack successfully");

  LOG_INF("TTLight starts to set current GPIO state");
  ret = ttl_led_set();
  if (TTL_OK != ret) {
    LOG_ERR("Failed to set the current TTLight GPIO state");
    return;
  }
  LOG_INF("TTLight finished to set current GPIO state");

  return;
}

int ttl_led_init() {
  running = 1;
  ttl_state.entire = 0;
  ttl_state_changed = 0;
  /* Start a thread to offload disk ops */
  k_thread_create(&ttl_led_thread_data, ttl_led_thread_stack,
                  TTL_LED_STACK_SIZE, (k_thread_entry_t)ttl_led_thread_main,
                  NULL, NULL, NULL, 2, 0, K_NO_WAIT);
  k_thread_name_set(&ttl_led_thread_data, "ttl_ble_worker");

  return TTL_OK;
}

int inline ttl_led_upd_status(ttl_state_t state) {
  if (state.entire != ttl_state.entire) {
    k_sem_take(&sem_ttl_state, K_FOREVER);
    ttl_state_changed = 1;
    ttl_state = state;
    k_sem_give(&sem_ttl_state);
    PRINT_TTL_STATE(ttl_state);
  }

  return TTL_OK;
}
```

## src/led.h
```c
#ifndef LED_H
#define LED_H

#include "ttl.h"

// from datasheet:
//  * periode: 1kHz = 1ms
//  * duty: 10%
#define TTL_PWM_LED_PERIODE 1000000
#define TTL_PWM_LED_DUTY(x) (TTL_PWM_LED_PERIODE / 100 * (x - 1))

/**
 * @brief Enable the TTLight GPIO stack
 * This function initiates the GPIO port
 * and starts to poll the current state
 */
int ttl_led_init();

int ttl_led_upd_status(ttl_state_t state);

#endif
```

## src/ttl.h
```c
#ifndef TTL_H
#define TTL_H

#include "inttypes.h"

#define TTL_OK (0)
#define TTL_ERR (-1)

#define TTL_POLLING_INTERVAL_MS (50)

enum TTL_LIGHT_STATES {
  TTL_LIGHT_REVERSE = 0,
  TTL_LIGHT_BREAK,
  TTL_LIGHT_TURN,
  TTL_LIGHT_DRIVE
};

typedef enum { ORI_LEFT = 0, ORI_RIGHT } ttl_light_orientiation_t;

typedef union {
  uint32_t entire;
  struct __attribute__((__packed__)) {
    uint8_t magic;
    uint8_t reserved;
    struct __attribute__((__packed__)) {
      uint16_t reverse : 1; // ???
      uint16_t breaks : 1;  // rot/54
      uint16_t lturn : 1;   // yellow/L
      uint16_t rturn : 1;   // green/R
      uint16_t ldrive : 1;  // black/58L
      uint16_t rdrive : 1;  // gray/58R
      uint16_t fog : 1;     // blue/54G
      uint16_t reserved : 9;
    } bits;
  } parts;
} ttl_state_t;

typedef int (*ttl_upd_state_cb_t)(ttl_state_t);

#define PRINT_TTL_STATE(state)                                                 \
  LOG_INF("TTLight State: {magic: 0x%x, breaks: %d, lturn: %d, rturn: %d, "    \
          "reverse: %d, ldrive: %d, rdrive: %d}",                              \
          state.parts.magic, state.parts.bits.breaks, state.parts.bits.lturn,  \
          state.parts.bits.rturn, state.parts.bits.reverse,                    \
          state.parts.bits.ldrive, state.parts.bits.rdrive);

#endif
```
